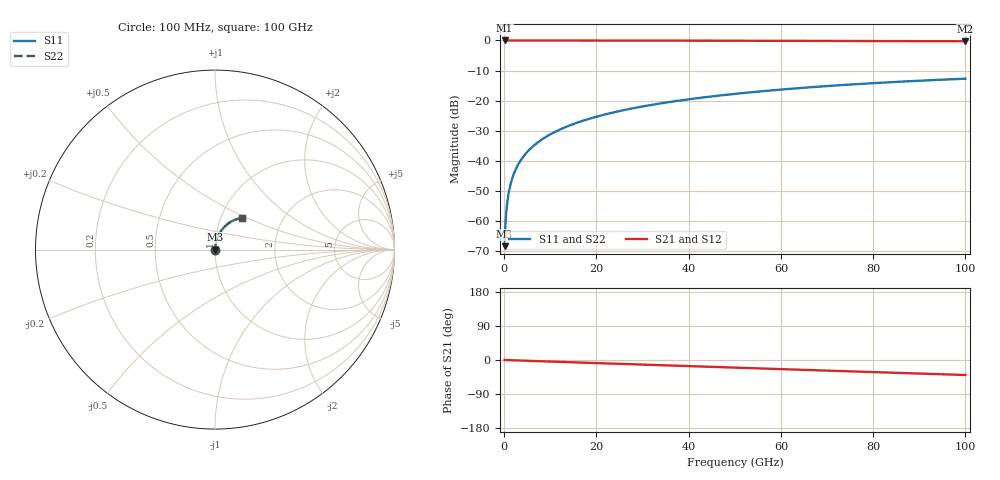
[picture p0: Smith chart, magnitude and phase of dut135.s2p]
! Touchstone file exported from HFSS 2026.1.0
!  File:  C:/ffzhzh/LocalFiles/Ansys_Project_Files/temp_train_TSV_135_1783506348_44152.aedt
!  Generated:  06:27:09 PM Jul  8, 2026
!  Design:  TSV
!  Project:  temp_train_TSV_135_1783506348_44152
! Variables:
!  h_bsmrdl = 2um
!  h_ox = 20um
!  h_rdl = 5um
!  h_sub = 72um
!  h_tmrdl = 5um
!  h_tsv = 72um
!  h_via = 3um
!  l_bsmrdl = 300um
!  l_sub = 413.38um
!  l_tmrdl = 200um
!  m_sub = 200um
!  pitch = 46.32um
!  r_tsv = 6.69um
!  s_tmrdl = 10um
!  w_bsmrdl = 18um
!  w_sub = 500um
!  w_tmrdl = 12um
!  x_tsv_center1 = 206um
!  x_tsv_center2 = 524um
!  x_tsv_center3 = 736um
!  x_tsv_center4 = 1054um
!  x_tsv_center5 = 1266um
!  x_tsv_center6 = 1584um
# GHz S MA R 50.000000
! Terminal data exported
! Port[1] = TSV1_1_T1
! Port[2] = TSV1_1_T2
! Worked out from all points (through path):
!   1000 points, 100 MHz to 100 GHz, reference 50 ohm
!   highest |S21| = 0.00 dB at 100 MHz (marker M1); lowest = -0.3 dB at 100 GHz (marker M2)
!   group delay of S21, straight-line fit = 1.1 ps
!   lowest |S11| = -68.4 dB at 100 MHz (marker M3), VSWR 1.00, Z = 50 + j0.0311 ohm
!   |S11| at or under -10 dB: start of sweep to end of sweep
!   |S22| runs from -68.4 to -12.7 dB; largest |S21 - S12| = 4.3e-15
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0.1  0.0003799 54.8  0.9998 -0.0  0.9998 -0.0  0.0003799 54.8
! Gamma 0 0 0 0
! Port Impedance 50 0 50 0
0.4  0.001231 77.7  0.9997 -0.2  0.9997 -0.2  0.001231 77.7
0.7  0.002093 81.7  0.9997 -0.3  0.9997 -0.3  0.002093 81.7
0.8  0.002381 82.3  0.9997 -0.3  0.9997 -0.3  0.002381 82.3
1  0.002955 83.2  0.9997 -0.4  0.9997 -0.4  0.002955 83.2
1.3  0.003812 83.9  0.9996 -0.5  0.9996 -0.5  0.003812 83.9
1.7  0.004943 84.4  0.9996 -0.7  0.9996 -0.7  0.004943 84.4
2.3  0.006618 84.7  0.9995 -1.0  0.9995 -1.0  0.006618 84.7
3  0.008545 84.8  0.9994 -1.2  0.9994 -1.2  0.008545 84.8
3.8  0.01073 84.8  0.9993 -1.6  0.9993 -1.6  0.01073 84.8
4.8  0.01344 84.8  0.9992 -2.0  0.9992 -2.0  0.01344 84.8
6  0.01668 84.6  0.999 -2.5  0.999 -2.5  0.01668 84.6
8.8  0.02422 84.0  0.9987 -3.6  0.9987 -3.6  0.02422 84.0
12.4  0.03384 82.9  0.9982 -5.1  0.9982 -5.1  0.03384 82.9
16.8  0.0455 81.4  0.9975 -6.8  0.9975 -6.8  0.0455 81.4
24.2  0.06489 78.7  0.9962 -9.8  0.9962 -9.8  0.06489 78.7
33.4  0.08851 75.2  0.9941 -13.5  0.9941 -13.5  0.08851 75.2
41.2  0.108 72.2  0.9919 -16.6  0.9919 -16.6  0.108 72.2
50.1  0.1295 68.8  0.9892 -20.2  0.9892 -20.2  0.1295 68.8
66.7  0.1673 62.4  0.9832 -26.7  0.9832 -26.7  0.1673 62.4
83.4  0.2016 56.0  0.9764 -33.2  0.9764 -33.2  0.2016 56.0
100  0.2313 49.7  0.9696 -39.6  0.9696 -39.6  0.2313 49.7
